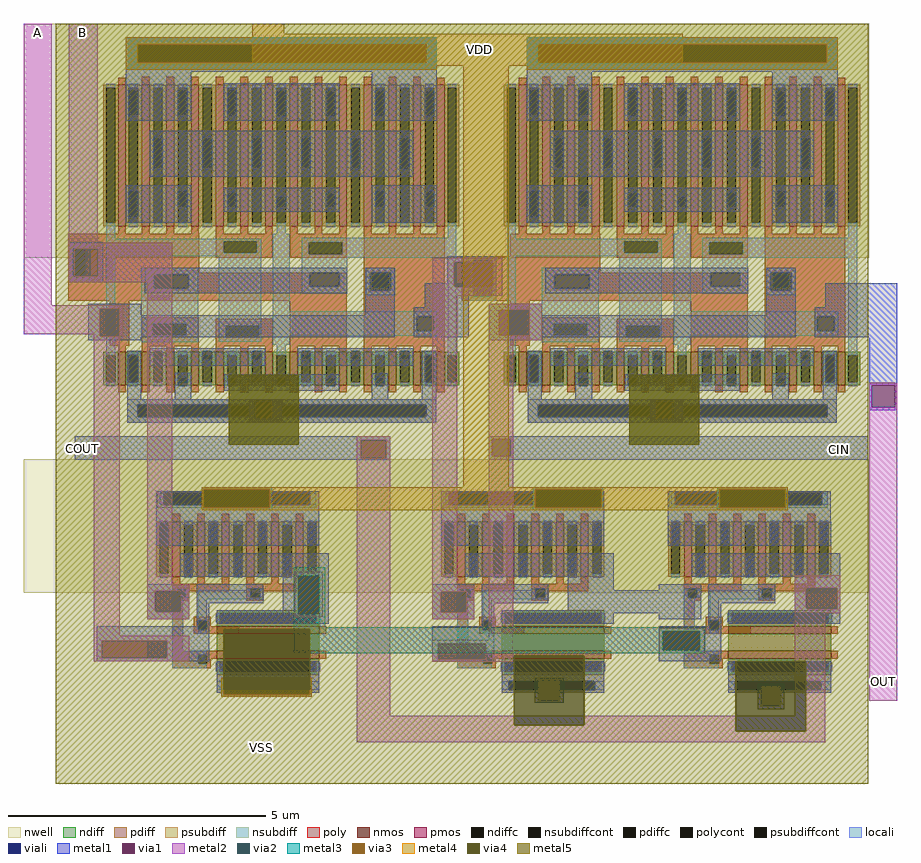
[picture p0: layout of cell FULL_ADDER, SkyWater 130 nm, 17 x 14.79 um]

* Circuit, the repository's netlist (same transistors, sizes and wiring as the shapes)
** sch_path: /home/erhangok/Documents/Dersler/VLSI/vlsi_sky130b/design/xschem/ADDER/full_adder.sch
.subckt full_adder OUT B A CIN COUT VSS VDD
*.PININFO A:I COUT:O B:I CIN:I OUT:O
x2 B A net1 VSS VDD XOR2
x1 net1 CIN OUT VSS VDD XOR2
x3 net1 CIN VSS VDD net2 nand2
x4 B A VSS VDD net3 nand2
x5 net2 net3 VSS VDD COUT nand2
.ends

* expanding   symbol:  XOR/XOR2.sym # of pins=3
** sym_path: /home/erhangok/Documents/Dersler/VLSI/vlsi_sky130b/design/xschem/XOR/XOR2.sym
** sch_path: /home/erhangok/Documents/Dersler/VLSI/vlsi_sky130b/design/xschem/XOR/XOR2.sch
.subckt XOR2 A B Y VSS VDD
*.PININFO A:I B:I Y:O
x1 A B !B !A Y A !A B !B VSS VDD cg4
x2 A VSS VDD !A inv_smol
x3 B VSS VDD !B inv_smol
.ends


* expanding   symbol:  NAND/nand2.sym # of pins=3
** sym_path: /home/erhangok/Documents/Dersler/VLSI/vlsi_sky130b/design/xschem/NAND/nand2.sym
** sch_path: /home/erhangok/Documents/Dersler/VLSI/vlsi_sky130b/design/xschem/NAND/nand2.sch
.subckt nand2 A B VSS VDD Y
*.PININFO A:I Y:O B:I
XM1 Y B VDD VDD sky130_fd_pr__pfet_01v8 L=0.15 W=3.21 nf=3 ad='int((nf+1)/2) * W/nf * 0.29' as='int((nf+2)/2) * W/nf * 0.29' pd='2*int((nf+1)/2) * (W/nf + 0.29)'
+ ps='2*int((nf+2)/2) * (W/nf + 0.29)' nrd='0.29 / W' nrs='0.29 / W' sa=0 sb=0 sd=0 mult=1 m=1
XM2 Y B net1 VSS sky130_fd_pr__nfet_01v8 L=0.15 W=2 nf=1 ad='int((nf+1)/2) * W/nf * 0.29' as='int((nf+2)/2) * W/nf * 0.29' pd='2*int((nf+1)/2) * (W/nf + 0.29)'
+ ps='2*int((nf+2)/2) * (W/nf + 0.29)' nrd='0.29 / W' nrs='0.29 / W' sa=0 sb=0 sd=0 mult=1 m=1
XM3 net1 A VSS VSS sky130_fd_pr__nfet_01v8 L=0.15 W=2 nf=1 ad='int((nf+1)/2) * W/nf * 0.29' as='int((nf+2)/2) * W/nf * 0.29' pd='2*int((nf+1)/2) * (W/nf + 0.29)'
+ ps='2*int((nf+2)/2) * (W/nf + 0.29)' nrd='0.29 / W' nrs='0.29 / W' sa=0 sb=0 sd=0 mult=1 m=1
XM4 Y A VDD VDD sky130_fd_pr__pfet_01v8 L=0.15 W=3.21 nf=3 ad='int((nf+1)/2) * W/nf * 0.29' as='int((nf+2)/2) * W/nf * 0.29' pd='2*int((nf+1)/2) * (W/nf + 0.29)'
+ ps='2*int((nf+2)/2) * (W/nf + 0.29)' nrd='0.29 / W' nrs='0.29 / W' sa=0 sb=0 sd=0 mult=1 m=1
.ends


* expanding   symbol:  ./CG4/cg4.sym # of pins=9
** sym_path: /home/erhangok/Documents/Dersler/VLSI/vlsi_sky130b/design/xschem/CG4/cg4.sym
** sch_path: /home/erhangok/Documents/Dersler/VLSI/vlsi_sky130b/design/xschem/CG4/cg4.sch
.subckt cg4 P3 P4 P2 P1 OUT N2 N1 N4 N3 VSS VDD
*.PININFO P3:I P1:I N1:I N3:I P4:I P2:I N2:I N4:I OUT:O
XM1 OUT N1 net1 VSS sky130_fd_pr__nfet_01v8 L=0.15 W=2 nf=1 ad='int((nf+1)/2) * W/nf * 0.29' as='int((nf+2)/2) * W/nf * 0.29' pd='2*int((nf+1)/2) * (W/nf + 0.29)'
+ ps='2*int((nf+2)/2) * (W/nf + 0.29)' nrd='0.29 / W' nrs='0.29 / W' sa=0 sb=0 sd=0 mult=1 m=1
XM2 OUT N2 net2 VSS sky130_fd_pr__nfet_01v8 L=0.15 W=2 nf=1 ad='int((nf+1)/2) * W/nf * 0.29' as='int((nf+2)/2) * W/nf * 0.29' pd='2*int((nf+1)/2) * (W/nf + 0.29)'
+ ps='2*int((nf+2)/2) * (W/nf + 0.29)' nrd='0.29 / W' nrs='0.29 / W' sa=0 sb=0 sd=0 mult=1 m=1
XM3 net1 N3 VSS VSS sky130_fd_pr__nfet_01v8 L=0.15 W=2 nf=1 ad='int((nf+1)/2) * W/nf * 0.29' as='int((nf+2)/2) * W/nf * 0.29' pd='2*int((nf+1)/2) * (W/nf + 0.29)'
+ ps='2*int((nf+2)/2) * (W/nf + 0.29)' nrd='0.29 / W' nrs='0.29 / W' sa=0 sb=0 sd=0 mult=1 m=1
XM4 net2 N4 VSS VSS sky130_fd_pr__nfet_01v8 L=0.15 W=2 nf=1 ad='int((nf+1)/2) * W/nf * 0.29' as='int((nf+2)/2) * W/nf * 0.29' pd='2*int((nf+1)/2) * (W/nf + 0.29)'
+ ps='2*int((nf+2)/2) * (W/nf + 0.29)' nrd='0.29 / W' nrs='0.29 / W' sa=0 sb=0 sd=0 mult=1 m=1
XM5 OUT P1 net3 VDD sky130_fd_pr__pfet_01v8 L=0.15 W=8.25 nf=1 ad='int((nf+1)/2) * W/nf * 0.29' as='int((nf+2)/2) * W/nf * 0.29' pd='2*int((nf+1)/2) * (W/nf + 0.29)'
+ ps='2*int((nf+2)/2) * (W/nf + 0.29)' nrd='0.29 / W' nrs='0.29 / W' sa=0 sb=0 sd=0 mult=1 m=1
XM6 OUT P2 net3 VDD sky130_fd_pr__pfet_01v8 L=0.15 W=8.25 nf=1 ad='int((nf+1)/2) * W/nf * 0.29' as='int((nf+2)/2) * W/nf * 0.29' pd='2*int((nf+1)/2) * (W/nf + 0.29)'
+ ps='2*int((nf+2)/2) * (W/nf + 0.29)' nrd='0.29 / W' nrs='0.29 / W' sa=0 sb=0 sd=0 mult=1 m=1
XM7 net3 P3 VDD VDD sky130_fd_pr__pfet_01v8 L=0.15 W=8.25 nf=1 ad='int((nf+1)/2) * W/nf * 0.29' as='int((nf+2)/2) * W/nf * 0.29' pd='2*int((nf+1)/2) * (W/nf + 0.29)'
+ ps='2*int((nf+2)/2) * (W/nf + 0.29)' nrd='0.29 / W' nrs='0.29 / W' sa=0 sb=0 sd=0 mult=1 m=1
XM8 net3 P4 VDD VDD sky130_fd_pr__pfet_01v8 L=0.15 W=8.25 nf=1 ad='int((nf+1)/2) * W/nf * 0.29' as='int((nf+2)/2) * W/nf * 0.29' pd='2*int((nf+1)/2) * (W/nf + 0.29)'
+ ps='2*int((nf+2)/2) * (W/nf + 0.29)' nrd='0.29 / W' nrs='0.29 / W' sa=0 sb=0 sd=0 mult=1 m=1
.ends


* expanding   symbol:  INV/inv_smol.sym # of pins=2
** sym_path: /home/erhangok/Documents/Dersler/VLSI/vlsi_sky130b/design/xschem/INV/inv_smol.sym
** sch_path: /home/erhangok/Documents/Dersler/VLSI/vlsi_sky130b/design/xschem/INV/inv_smol.sch
.subckt inv_smol A VSS VDD Y
*.PININFO A:I Y:O
XM2 Y A VSS VSS sky130_fd_pr__nfet_01v8 L=0.15 W=0.65 nf=1 ad='int((nf+1)/2) * W/nf * 0.29' as='int((nf+2)/2) * W/nf * 0.29' pd='2*int((nf+1)/2) * (W/nf + 0.29)'
+ ps='2*int((nf+2)/2) * (W/nf + 0.29)' nrd='0.29 / W' nrs='0.29 / W' sa=0 sb=0 sd=0 mult=1 m=1
XM1 Y A VDD VDD sky130_fd_pr__pfet_01v8 L=0.15 W=2.75 nf=1 ad='int((nf+1)/2) * W/nf * 0.29' as='int((nf+2)/2) * W/nf * 0.29' pd='2*int((nf+1)/2) * (W/nf + 0.29)'
+ ps='2*int((nf+2)/2) * (W/nf + 0.29)' nrd='0.29 / W' nrs='0.29 / W' sa=0 sb=0 sd=0 mult=1 m=1
.ends

.end

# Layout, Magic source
magic
tech sky130B
magscale 1 2
<< nwell >>
rect -292 625 2999 1536
rect -292 -679 2999 -159
<< poly >>
rect -118 660 74 717
rect -118 550 -99 660
rect -52 550 74 660
rect -118 458 74 550
rect 1413 615 1729 630
rect 1413 475 1458 615
rect 1531 475 1729 615
rect 1413 458 1729 475
<< polycont >>
rect -99 550 -52 660
rect 1458 475 1531 615
<< locali >>
rect -117 660 -32 683
rect -117 550 -99 660
rect -52 550 -32 660
rect -117 530 -32 550
rect 1358 608 1392 625
rect 1439 615 1548 630
rect 1358 511 1383 608
rect 1358 495 1392 511
rect 1439 475 1458 615
rect 1531 475 1548 615
rect 1439 458 1548 475
<< viali >>
rect -99 550 -52 660
rect 1458 512 1531 615
<< metal1 >>
rect -117 660 18 684
rect -117 550 -99 660
rect -3 552 18 660
rect 1357 625 1548 630
rect -52 550 18 552
rect -117 530 18 550
rect 1356 615 1548 625
rect 1356 608 1458 615
rect 1531 608 1548 615
rect 1356 511 1383 608
rect 1533 511 1548 608
rect 1356 495 1548 511
rect 1519 420 1724 446
rect 1519 323 1559 420
rect 1675 323 1724 420
rect 1519 303 1724 323
rect 2862 316 3108 525
rect 2999 129 3108 316
rect 2999 43 3008 129
rect 3099 43 3108 129
rect 2999 31 3108 43
rect -93 -86 1135 -70
rect -93 -155 1020 -86
rect 1119 -155 1135 -86
rect -93 -161 1135 -155
rect 1518 -82 2995 -70
rect 1518 -148 1532 -82
rect 1603 -148 2995 -82
rect 1518 -161 2995 -148
rect 401 -277 675 -268
rect 401 -349 410 -277
rect 666 -349 675 -277
rect 401 -358 675 -349
rect 1690 -277 1964 -268
rect 1690 -349 1699 -277
rect 1955 -349 1964 -277
rect 1690 -358 1964 -349
rect 2407 -277 2681 -268
rect 2407 -349 2416 -277
rect 2672 -349 2681 -277
rect 2407 -358 2681 -349
rect 189 -673 353 -646
rect 189 -753 221 -673
rect 319 -753 353 -673
rect 189 -781 353 -753
rect 1298 -674 1462 -651
rect 1298 -754 1332 -674
rect 1430 -754 1462 -674
rect 1298 -781 1462 -754
rect 1826 -759 2243 -669
rect -7 -866 384 -809
rect -7 -932 12 -866
rect 265 -932 384 -866
rect -7 -946 384 -932
rect 477 -1023 830 -1010
rect 1722 -1016 1784 -997
rect 477 -1075 486 -1023
rect 821 -1075 830 -1023
rect 477 -1084 830 -1075
rect 1711 -1028 1795 -1016
rect 1711 -1090 1722 -1028
rect 1784 -1090 1795 -1028
rect 1711 -1101 1795 -1090
rect 2576 -1055 2654 -1042
rect 2576 -1107 2589 -1055
rect 2641 -1107 2654 -1055
rect 2576 -1120 2654 -1107
<< via1 >>
rect -93 552 -52 660
rect -52 552 -3 660
rect 1383 512 1458 608
rect 1458 512 1531 608
rect 1531 512 1533 608
rect 1383 511 1533 512
rect 4 319 80 427
rect 1559 323 1675 420
rect 3008 43 3099 129
rect 1020 -155 1119 -86
rect 1532 -148 1603 -82
rect 410 -349 666 -277
rect 1699 -349 1955 -277
rect 2416 -349 2672 -277
rect 221 -753 319 -673
rect 776 -760 859 -612
rect 1332 -754 1430 -674
rect 2753 -742 2873 -662
rect 12 -932 265 -866
rect 1322 -937 1507 -877
rect 2194 -903 2339 -828
rect 486 -1075 821 -1023
rect 1722 -1090 1784 -1028
rect 2589 -1107 2641 -1055
<< metal2 >>
rect -292 440 -183 1536
rect -117 683 -3 1536
rect -117 660 286 683
rect -117 552 -93 660
rect -3 552 286 660
rect -117 530 286 552
rect -117 529 -3 530
rect -292 439 65 440
rect -292 427 94 439
rect -292 327 4 427
rect -18 319 4 327
rect 80 319 94 427
rect -18 -846 83 319
rect 190 -646 286 530
rect 1299 608 1571 624
rect 1299 511 1383 608
rect 1533 511 1571 608
rect 1299 476 1571 511
rect 1004 -86 1135 -70
rect 1004 -155 1020 -86
rect 1119 -155 1135 -86
rect 401 -277 675 -268
rect 401 -349 410 -277
rect 666 -349 675 -277
rect 401 -358 675 -349
rect 763 -612 872 -597
rect 189 -673 353 -646
rect 189 -753 221 -673
rect 319 -753 353 -673
rect 189 -781 353 -753
rect 763 -760 776 -612
rect 859 -760 872 -612
rect 763 -772 872 -760
rect -18 -866 353 -846
rect -18 -932 12 -866
rect 265 -932 353 -866
rect -18 -945 353 -932
rect 477 -1019 830 -1010
rect 477 -1075 486 -1019
rect 821 -1075 830 -1019
rect 477 -1084 830 -1075
rect 1004 -1158 1135 -155
rect 1299 -651 1395 476
rect 1518 420 1724 446
rect 1518 323 1559 420
rect 1675 323 1724 420
rect 1518 303 1724 323
rect 1518 -82 1613 303
rect 1518 -148 1532 -82
rect 1603 -148 1613 -82
rect 1298 -674 1462 -651
rect 1298 -754 1332 -674
rect 1430 -754 1462 -674
rect 1298 -781 1462 -754
rect 1518 -862 1613 -148
rect 2999 129 3108 138
rect 2999 43 3008 129
rect 3099 43 3108 129
rect 1690 -277 1964 -268
rect 1690 -349 1699 -277
rect 1955 -349 1964 -277
rect 1690 -358 1964 -349
rect 2407 -277 2681 -268
rect 2407 -349 2416 -277
rect 2672 -349 2681 -277
rect 2407 -358 2681 -349
rect 2708 -662 2886 -611
rect 2708 -742 2753 -662
rect 2873 -742 2886 -662
rect 2708 -759 2886 -742
rect 1298 -877 1613 -862
rect 1298 -937 1322 -877
rect 1507 -937 1613 -877
rect 2182 -828 2357 -817
rect 2182 -903 2194 -828
rect 2339 -903 2357 -828
rect 2182 -915 2357 -903
rect 1298 -947 1613 -937
rect 1711 -1028 1795 -1016
rect 1711 -1090 1722 -1028
rect 1784 -1090 1795 -1028
rect 1711 -1101 1795 -1090
rect 2576 -1053 2654 -1042
rect 2576 -1109 2587 -1053
rect 2643 -1109 2654 -1053
rect 2576 -1120 2654 -1109
rect 2708 -1158 2828 -759
rect 2999 -1099 3108 43
rect 1004 -1260 2828 -1158
<< via2 >>
rect 410 -349 666 -277
rect 776 -760 859 -612
rect 486 -1023 821 -1019
rect 486 -1075 821 -1023
rect 1699 -349 1955 -277
rect 2416 -349 2672 -277
rect 2194 -903 2339 -828
rect 1722 -1090 1784 -1028
rect 2587 -1055 2643 -1053
rect 2587 -1107 2589 -1055
rect 2589 -1107 2641 -1055
rect 2641 -1107 2643 -1055
rect 2587 -1109 2643 -1107
<< metal3 >>
rect 401 -277 675 -268
rect 401 -349 410 -277
rect 666 -349 675 -277
rect 401 -358 675 -349
rect 1690 -277 1964 -268
rect 1690 -349 1699 -277
rect 1955 -349 1964 -277
rect 1690 -358 1964 -349
rect 2407 -277 2681 -268
rect 2407 -349 2416 -277
rect 2672 -349 2681 -277
rect 2407 -358 2681 -349
rect 759 -612 881 -579
rect 759 -760 776 -612
rect 859 -760 881 -612
rect 759 -813 881 -760
rect 759 -828 2360 -813
rect 759 -903 2194 -828
rect 2339 -903 2360 -828
rect 759 -915 2360 -903
rect 477 -1011 830 -1010
rect 477 -1075 486 -1011
rect 821 -1075 830 -1011
rect 477 -1084 830 -1075
rect 1697 -1023 1809 -1009
rect 1697 -1095 1717 -1023
rect 1789 -1095 1809 -1023
rect 1697 -1106 1809 -1095
rect 2564 -1048 2667 -1034
rect 2564 -1114 2582 -1048
rect 2648 -1114 2667 -1048
rect 2564 -1132 2667 -1114
<< via3 >>
rect 410 -349 666 -277
rect 1699 -349 1955 -277
rect 2416 -349 2672 -277
rect 486 -1019 821 -1011
rect 486 -1075 821 -1019
rect 1717 -1028 1789 -1023
rect 1717 -1090 1722 -1028
rect 1722 -1090 1784 -1028
rect 1784 -1090 1789 -1028
rect 1717 -1095 1789 -1090
rect 2582 -1053 2648 -1048
rect 2582 -1109 2587 -1053
rect 2587 -1109 2643 -1053
rect 2643 -1109 2648 -1053
rect 2582 -1114 2648 -1109
<< metal4 >>
rect 597 1497 723 1536
rect 597 1371 2272 1497
rect 1418 -268 1596 1371
rect 401 -277 2681 -268
rect 401 -349 410 -277
rect 666 -349 1699 -277
rect 1955 -349 2416 -277
rect 2672 -349 2681 -277
rect 401 -358 2681 -349
rect 477 -1075 486 -1010
rect 821 -1075 830 -1010
rect 477 -1084 830 -1075
<< via4 >>
rect 486 -1011 821 -821
rect 486 -1057 821 -1011
rect 1617 -1023 1889 -923
rect 1617 -1095 1717 -1023
rect 1717 -1095 1789 -1023
rect 1789 -1095 1889 -1023
rect 1617 -1195 1889 -1095
rect 2479 -1048 2751 -945
rect 2479 -1114 2582 -1048
rect 2582 -1114 2648 -1048
rect 2648 -1114 2751 -1048
rect 2479 -1217 2751 -1114
<< metal5 >>
rect -166 -821 2994 1536
rect -166 -1057 486 -821
rect 821 -923 2994 -821
rect 821 -1057 1617 -923
rect -166 -1195 1617 -1057
rect 1889 -945 2994 -923
rect 1889 -1195 2479 -945
rect -166 -1217 2479 -1195
rect 2751 -1217 2994 -945
rect -166 -1421 2994 -1217
use NAND2  NAND2_0 ~/Documents/vlsi/vlsi_sky130b/design/mag/NAND/NAND2
transform 1 0 -167 0 1 -1051
box 356 -17 1062 804
use NAND2  NAND2_1
transform 1 0 942 0 1 -1051
box 356 -17 1062 804
use NAND2  NAND2_2
transform 1 0 1824 0 1 -1051
box 356 -17 1062 804
use XOR2  XOR2_0 ~/Documents/vlsi/vlsi_sky130b/design/mag/XOR
transform 1 0 69 0 1 -239
box -109 77 1371 1764
use XOR2  XOR2_1
transform 1 0 1628 0 1 -239
box -109 77 1371 1764
<< labels >>
rlabel metal1 -80 -152 -44 -82 5 COUT
port 4 s
rlabel metal2 3014 -1066 3094 -986 5 OUT
port 5 s
rlabel metal1 2808 -144 2958 -100 5 CIN
port 6 s
rlabel metal5 433 -1321 834 -1244 5 VSS
port 8 s
rlabel metal2 -279 1470 -199 1529 5 A
port 9 s
rlabel metal2 -102 1470 -22 1529 5 B
port 10 s
rlabel metal4 1355 1383 1610 1485 5 VDD
port 11 s
<< end >>

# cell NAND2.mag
magic
tech sky130B
magscale 1 2
<< nwell >>
rect 356 684 1062 804
<< ndiff >>
rect 994 146 996 148
rect 626 54 1026 60
<< psubdiff >>
rect 626 28 1026 54
rect 626 -6 653 28
rect 988 -6 1026 28
rect 626 -17 1026 -6
<< nsubdiff >>
rect 396 761 1013 768
rect 396 714 420 761
rect 989 714 1013 761
rect 396 702 1013 714
<< psubdiffcont >>
rect 653 -6 988 28
<< nsubdiffcont >>
rect 420 714 989 761
<< poly >>
rect 453 387 520 408
rect 453 352 470 387
rect 504 352 520 387
rect 453 341 520 352
rect 742 387 809 408
rect 742 352 759 387
rect 793 352 809 387
rect 742 341 809 352
rect 453 146 496 341
rect 538 263 604 279
rect 538 228 554 263
rect 588 242 604 263
rect 588 228 714 242
rect 538 212 714 228
rect 453 130 604 146
rect 453 95 554 130
rect 588 95 604 130
rect 453 79 604 95
<< polycont >>
rect 470 352 504 387
rect 759 352 793 387
rect 554 228 588 263
rect 554 95 588 130
<< locali >>
rect 404 714 420 761
rect 989 714 1013 761
rect 453 352 470 387
rect 504 352 520 387
rect 742 381 759 387
rect 554 352 759 381
rect 793 352 809 387
rect 453 146 496 352
rect 554 347 809 352
rect 554 263 588 347
rect 554 212 588 228
rect 453 130 588 146
rect 453 95 554 130
rect 453 79 588 95
rect 626 -6 653 28
rect 988 -6 1026 28
<< viali >>
rect 420 714 989 761
rect 470 352 504 387
rect 759 352 793 387
rect 554 228 588 263
rect 653 -6 988 28
<< metal1 >>
rect 391 761 1025 768
rect 391 714 420 761
rect 989 714 1025 761
rect 391 555 1025 714
rect 485 434 1062 526
rect 356 387 520 405
rect 356 352 470 387
rect 504 352 520 387
rect 356 270 520 352
rect 548 387 808 406
rect 548 352 759 387
rect 793 352 808 387
rect 548 332 808 352
rect 548 263 598 332
rect 884 304 1062 434
rect 548 241 554 263
rect 356 228 554 241
rect 588 228 598 263
rect 626 252 1062 304
rect 356 105 598 228
rect 626 28 1026 105
rect 626 -6 653 28
rect 988 -6 1026 28
rect 626 -17 1026 -6
use nmos_2shared_W200-L015-F1  nmos_2shared_W200-L015-F1_0
transform 0 1 826 -1 0 179
box -125 -226 125 226
use pmos_p2-w321-L015-f3  pmos_p2-w321-L015-f3_0
transform 1 0 709 0 -1 541
box -353 -143 353 169
<< labels >>
rlabel metal1 356 341 356 341 7 A
port 1 w
rlabel metal1 356 173 356 173 7 B
port 2 w
rlabel metal1 826 54 826 54 5 VSS
port 3 s
rlabel metal1 709 684 709 684 1 VDD
port 4 n
rlabel metal1 1062 451 1062 451 3 Y
port 5 e
<< end >>

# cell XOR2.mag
magic
tech sky130B
magscale 1 2
<< nwell >>
rect -87 864 1371 1764
<< nmos >>
rect 7 367 37 497
rect 99 367 129 497
rect 195 367 225 497
rect 291 367 321 497
rect 387 367 417 497
rect 483 367 513 497
rect 579 367 609 497
rect 675 367 705 497
rect 771 367 801 497
rect 867 367 897 497
rect 963 367 993 497
rect 1059 367 1089 497
rect 1155 367 1185 497
rect 1247 367 1277 497
<< pmos >>
rect 7 987 37 1537
rect 99 987 129 1537
rect 195 987 225 1537
rect 291 987 321 1537
rect 387 987 417 1537
rect 483 987 513 1537
rect 579 987 609 1537
rect 675 987 705 1537
rect 771 987 801 1537
rect 867 987 897 1537
rect 963 987 993 1537
rect 1059 987 1089 1537
rect 1155 987 1185 1537
rect 1247 987 1277 1537
<< ndiff >>
rect -51 485 7 497
rect -51 379 -39 485
rect -5 379 7 485
rect -51 367 7 379
rect 37 485 99 497
rect 37 379 49 485
rect 83 379 99 485
rect 37 367 99 379
rect 129 485 195 497
rect 129 379 145 485
rect 179 379 195 485
rect 129 367 195 379
rect 225 485 291 497
rect 225 379 241 485
rect 275 379 291 485
rect 225 367 291 379
rect 321 485 387 497
rect 321 379 337 485
rect 371 379 387 485
rect 321 367 387 379
rect 417 485 483 497
rect 417 379 433 485
rect 467 379 483 485
rect 417 367 483 379
rect 513 485 579 497
rect 513 379 529 485
rect 563 379 579 485
rect 513 367 579 379
rect 609 485 675 497
rect 609 379 625 485
rect 659 379 675 485
rect 609 367 675 379
rect 705 485 771 497
rect 705 379 721 485
rect 755 379 771 485
rect 705 367 771 379
rect 801 485 867 497
rect 801 379 817 485
rect 851 379 867 485
rect 801 367 867 379
rect 897 485 963 497
rect 897 379 913 485
rect 947 379 963 485
rect 897 367 963 379
rect 993 485 1059 497
rect 993 379 1009 485
rect 1043 379 1059 485
rect 993 367 1059 379
rect 1089 485 1155 497
rect 1089 379 1105 485
rect 1139 379 1155 485
rect 1089 367 1155 379
rect 1185 485 1247 497
rect 1185 379 1201 485
rect 1235 379 1247 485
rect 1185 367 1247 379
rect 1277 485 1335 497
rect 1277 379 1289 485
rect 1323 379 1335 485
rect 1277 367 1335 379
<< pdiff >>
rect -51 1525 7 1537
rect -51 999 -39 1525
rect -5 999 7 1525
rect -51 987 7 999
rect 37 1525 99 1537
rect 37 999 49 1525
rect 83 999 99 1525
rect 37 987 99 999
rect 129 1525 195 1537
rect 129 999 145 1525
rect 179 999 195 1525
rect 129 987 195 999
rect 225 1525 291 1537
rect 225 999 241 1525
rect 275 999 291 1525
rect 225 987 291 999
rect 321 1525 387 1537
rect 321 999 337 1525
rect 371 999 387 1525
rect 321 987 387 999
rect 417 1525 483 1537
rect 417 999 433 1525
rect 467 999 483 1525
rect 417 987 483 999
rect 513 1525 579 1537
rect 513 999 529 1525
rect 563 999 579 1525
rect 513 987 579 999
rect 609 1525 675 1537
rect 609 999 625 1525
rect 659 999 675 1525
rect 609 987 675 999
rect 705 1525 771 1537
rect 705 999 721 1525
rect 755 999 771 1525
rect 705 987 771 999
rect 801 1525 867 1537
rect 801 999 817 1525
rect 851 999 867 1525
rect 801 987 867 999
rect 897 1525 963 1537
rect 897 999 913 1525
rect 947 999 963 1525
rect 897 987 963 999
rect 993 1525 1059 1537
rect 993 999 1009 1525
rect 1043 999 1059 1525
rect 993 987 1059 999
rect 1089 1525 1155 1537
rect 1089 999 1105 1525
rect 1139 999 1155 1525
rect 1089 987 1155 999
rect 1185 1525 1247 1537
rect 1185 999 1201 1525
rect 1235 999 1247 1525
rect 1185 987 1247 999
rect 1277 1525 1335 1537
rect 1277 999 1289 1525
rect 1323 999 1335 1525
rect 1277 987 1335 999
<< ndiffc >>
rect -39 379 -5 485
rect 49 379 83 485
rect 145 379 179 485
rect 241 379 275 485
rect 337 379 371 485
rect 433 379 467 485
rect 529 379 563 485
rect 625 379 659 485
rect 721 379 755 485
rect 817 379 851 485
rect 913 379 947 485
rect 1009 379 1043 485
rect 1105 379 1139 485
rect 1201 379 1235 485
rect 1289 379 1323 485
<< pdiffc >>
rect -39 999 -5 1525
rect 49 999 83 1525
rect 145 999 179 1525
rect 241 999 275 1525
rect 337 999 371 1525
rect 433 999 467 1525
rect 529 999 563 1525
rect 625 999 659 1525
rect 721 999 755 1525
rect 817 999 851 1525
rect 913 999 947 1525
rect 1009 999 1043 1525
rect 1105 999 1139 1525
rect 1201 999 1235 1525
rect 1289 999 1323 1525
<< psubdiff >>
rect 42 291 1244 313
rect 42 245 83 291
rect 1206 245 1244 291
rect 42 222 1244 245
<< nsubdiff >>
rect 37 1694 1247 1722
rect 37 1622 83 1694
rect 1205 1622 1247 1694
rect 37 1596 1247 1622
<< psubdiffcont >>
rect 83 245 1206 291
<< nsubdiffcont >>
rect 83 1622 1205 1694
<< poly >>
rect 7 1537 37 1563
rect 99 1537 129 1568
rect 195 1537 225 1568
rect 291 1537 321 1568
rect 387 1537 417 1568
rect 483 1537 513 1568
rect 579 1537 609 1568
rect 675 1537 705 1568
rect 771 1537 801 1568
rect 867 1537 897 1568
rect 963 1537 993 1568
rect 1059 1537 1089 1568
rect 1155 1537 1185 1568
rect 1247 1537 1277 1563
rect 7 956 37 987
rect 99 956 129 987
rect 195 956 225 987
rect 291 956 321 987
rect 387 957 417 987
rect 483 957 513 987
rect 579 957 609 987
rect -26 806 323 956
rect 387 928 609 957
rect 387 883 417 928
rect 547 883 609 928
rect 387 864 609 883
rect 675 956 705 987
rect 771 956 801 987
rect 867 956 897 987
rect 675 923 897 956
rect 675 878 748 923
rect 878 878 897 923
rect 675 863 897 878
rect 963 956 993 987
rect 1059 956 1089 987
rect 1155 956 1185 987
rect 1247 956 1277 987
rect -87 697 897 806
rect -26 522 50 697
rect 99 607 321 632
rect 99 562 142 607
rect 272 562 321 607
rect 7 497 37 522
rect 99 519 321 562
rect 99 497 129 519
rect 195 497 225 519
rect 291 497 321 519
rect 387 599 609 627
rect 387 554 425 599
rect 555 554 609 599
rect 387 519 609 554
rect 387 497 417 519
rect 483 497 513 519
rect 579 497 609 519
rect 675 519 897 697
rect 675 497 705 519
rect 771 497 801 519
rect 867 497 897 519
rect 963 799 1277 956
rect 963 744 995 799
rect 1060 744 1277 799
rect 963 519 1277 744
rect 963 497 993 519
rect 1059 497 1089 519
rect 1155 497 1185 519
rect 1247 497 1277 519
rect 7 341 37 367
rect 99 341 129 367
rect 195 341 225 367
rect 291 341 321 367
rect 387 341 417 367
rect 483 341 513 367
rect 579 341 609 367
rect 675 341 705 367
rect 771 341 801 367
rect 867 341 897 367
rect 963 341 993 367
rect 1059 341 1089 367
rect 1155 341 1185 367
rect 1247 341 1277 367
<< polycont >>
rect 417 883 547 928
rect 748 878 878 923
rect 142 562 272 607
rect 425 554 555 599
rect 995 744 1060 799
<< locali >>
rect 37 1694 1247 1722
rect 37 1622 83 1694
rect 1205 1622 1247 1694
rect 37 1596 1247 1622
rect -39 1525 -5 1541
rect -39 938 -5 999
rect 49 1525 83 1541
rect 49 983 83 999
rect 145 1525 179 1541
rect 145 983 179 999
rect 241 1525 275 1541
rect 241 983 275 999
rect 337 1525 371 1541
rect 337 983 371 999
rect 433 1525 467 1541
rect 433 983 467 999
rect 529 1525 563 1541
rect 529 983 563 999
rect 625 1525 659 1541
rect 625 956 659 999
rect 721 1525 755 1541
rect 721 983 755 999
rect 817 1525 851 1541
rect 817 983 851 999
rect 913 1525 947 1541
rect 913 983 947 999
rect 1009 1525 1043 1541
rect 1009 983 1043 999
rect 1105 1525 1139 1541
rect 1105 983 1139 999
rect 1201 1525 1235 1541
rect 1201 983 1235 999
rect 1289 1525 1323 1541
rect -39 928 563 938
rect -39 883 417 928
rect 547 883 563 928
rect -39 869 563 883
rect -39 485 -5 869
rect 97 798 318 825
rect 97 745 147 798
rect 280 745 318 798
rect 97 607 318 745
rect 97 562 142 607
rect 272 562 318 607
rect 97 535 318 562
rect 398 599 563 869
rect 398 554 425 599
rect 555 554 563 599
rect 398 537 563 554
rect 609 656 675 956
rect 1289 941 1323 999
rect 721 923 1323 941
rect 721 878 748 923
rect 878 878 1323 923
rect 721 864 1323 878
rect 721 806 898 864
rect 721 753 753 806
rect 867 753 898 806
rect 721 724 898 753
rect 970 805 1085 823
rect 970 737 987 805
rect 1067 737 1085 805
rect 970 717 1085 737
rect 609 634 1249 656
rect 609 579 1169 634
rect 1234 579 1249 634
rect 609 560 1249 579
rect 609 526 675 560
rect -39 363 -5 379
rect 49 485 83 501
rect 49 363 83 379
rect 145 500 179 501
rect 145 363 179 379
rect 241 485 275 501
rect 241 363 275 365
rect 337 500 371 501
rect 337 363 371 379
rect 433 485 467 501
rect 433 363 467 365
rect 529 499 563 501
rect 529 363 563 379
rect 625 485 659 526
rect 625 363 659 365
rect 721 500 755 501
rect 721 363 755 379
rect 817 485 851 501
rect 817 363 851 365
rect 913 500 947 501
rect 913 363 947 379
rect 1009 485 1043 501
rect 1009 363 1043 365
rect 1105 500 1139 501
rect 1105 363 1139 379
rect 1201 485 1235 501
rect 1201 363 1235 379
rect 1289 485 1323 864
rect 1289 363 1323 379
rect 42 291 1244 313
rect 42 245 83 291
rect 1206 245 1244 291
rect 42 222 1244 245
<< viali >>
rect 83 1622 1205 1694
rect 49 1417 83 1519
rect 49 1022 83 1124
rect 145 1209 179 1333
rect 241 1417 275 1519
rect 241 1058 275 1124
rect 337 1209 371 1333
rect 433 1415 467 1517
rect 433 1058 467 1118
rect 529 1209 563 1333
rect 625 1414 659 1516
rect 625 1058 659 1101
rect 721 1209 755 1333
rect 817 1414 851 1516
rect 817 1058 851 1118
rect 913 1209 947 1333
rect 1009 1414 1043 1516
rect 1009 1058 1043 1125
rect 1105 1208 1139 1332
rect 1201 1414 1235 1516
rect 1201 1058 1235 1125
rect 147 745 280 798
rect 753 753 867 806
rect 987 799 1067 805
rect 987 744 995 799
rect 995 744 1060 799
rect 1060 744 1067 799
rect 987 737 1067 744
rect 1169 579 1234 634
rect 49 379 83 485
rect 145 485 179 500
rect 145 466 179 485
rect 241 379 275 399
rect 241 365 275 379
rect 337 485 371 500
rect 337 466 371 485
rect 433 379 467 399
rect 433 365 467 379
rect 529 485 563 499
rect 529 465 563 485
rect 625 379 659 399
rect 625 365 659 379
rect 721 485 755 500
rect 721 466 755 485
rect 817 379 851 399
rect 817 365 851 379
rect 913 485 947 500
rect 913 466 947 485
rect 1009 379 1043 399
rect 1009 365 1043 379
rect 1105 485 1139 500
rect 1105 466 1139 485
rect 1201 379 1235 485
rect 83 245 1206 291
<< metal1 >>
rect 37 1694 1247 1722
rect 37 1622 83 1694
rect 1205 1622 1247 1694
rect 37 1588 1247 1622
rect 37 1519 291 1588
rect 37 1417 49 1519
rect 83 1417 241 1519
rect 275 1417 291 1519
rect 37 1396 291 1417
rect 417 1517 867 1543
rect 417 1415 433 1517
rect 467 1516 867 1517
rect 467 1415 625 1516
rect 417 1414 625 1415
rect 659 1414 817 1516
rect 851 1414 867 1516
rect 417 1396 867 1414
rect 993 1516 1247 1588
rect 993 1414 1009 1516
rect 1043 1414 1201 1516
rect 1235 1414 1247 1516
rect 993 1396 1247 1414
rect 129 1333 1155 1358
rect 129 1209 145 1333
rect 179 1209 337 1333
rect 371 1209 529 1333
rect 563 1209 721 1333
rect 755 1209 913 1333
rect 947 1332 1155 1333
rect 947 1209 1105 1332
rect 129 1208 1105 1209
rect 1139 1208 1155 1332
rect 129 1179 1155 1208
rect 37 1124 291 1146
rect 37 1022 49 1124
rect 83 1058 241 1124
rect 275 1058 291 1124
rect 83 1022 291 1058
rect 417 1118 867 1135
rect 417 1058 433 1118
rect 467 1101 817 1118
rect 467 1058 625 1101
rect 659 1058 817 1101
rect 851 1058 867 1118
rect 417 1043 867 1058
rect 993 1125 1247 1146
rect 993 1058 1009 1125
rect 1043 1058 1201 1125
rect 1235 1058 1247 1125
rect 37 999 291 1022
rect 993 999 1247 1058
rect 110 806 899 824
rect 110 798 753 806
rect 110 745 147 798
rect 280 753 753 798
rect 867 753 899 806
rect 280 745 899 753
rect 110 725 899 745
rect 969 805 1084 824
rect 969 737 987 805
rect 1067 737 1084 805
rect -109 640 96 685
rect 969 640 1084 737
rect 1200 671 1371 764
rect -109 554 1084 640
rect 1158 634 1371 671
rect 1158 579 1169 634
rect 1234 579 1371 634
rect 1158 555 1371 579
rect -109 542 96 554
rect 42 485 97 501
rect 42 379 49 485
rect 83 379 97 485
rect 129 500 579 512
rect 129 466 145 500
rect 179 466 337 500
rect 371 499 579 500
rect 371 466 529 499
rect 129 465 529 466
rect 563 465 579 499
rect 129 444 579 465
rect 705 500 1155 512
rect 705 466 721 500
rect 755 466 913 500
rect 947 466 1105 500
rect 1139 466 1155 500
rect 705 444 1155 466
rect 1189 485 1244 501
rect 42 313 97 379
rect 227 399 292 416
rect 227 365 241 399
rect 275 365 292 399
rect 227 313 292 365
rect 420 399 867 411
rect 420 365 433 399
rect 467 365 625 399
rect 659 365 817 399
rect 851 365 867 399
rect 420 347 867 365
rect 993 399 1058 415
rect 993 365 1009 399
rect 1043 365 1058 399
rect 993 313 1058 365
rect 1189 379 1201 485
rect 1235 379 1244 485
rect 1189 313 1244 379
rect 42 302 1244 313
rect 42 291 543 302
rect 603 291 1244 302
rect 42 245 83 291
rect 1206 245 1244 291
rect 42 242 543 245
rect 603 242 1244 245
rect 42 222 1244 242
<< via1 >>
rect 83 1622 1205 1694
rect 543 291 603 302
rect 543 245 603 291
rect 543 242 603 245
<< metal2 >>
rect 37 1694 1247 1722
rect 37 1622 83 1694
rect 1205 1622 1247 1694
rect 37 1596 1247 1622
rect 532 302 614 313
rect 532 242 543 302
rect 603 242 614 302
rect 532 231 614 242
<< via2 >>
rect 83 1622 1205 1694
rect 543 242 603 302
<< metal3 >>
rect 37 1694 1247 1722
rect 37 1622 83 1694
rect 1205 1622 1247 1694
rect 37 1596 1247 1622
rect 518 307 644 313
rect 518 237 538 307
rect 608 237 644 307
rect 518 222 644 237
<< via3 >>
rect 83 1622 1205 1694
rect 538 302 608 307
rect 538 242 543 302
rect 543 242 603 302
rect 603 242 608 302
rect 538 237 608 242
<< metal4 >>
rect 37 1694 1247 1722
rect 37 1622 83 1694
rect 1205 1622 1247 1694
rect 37 1596 1247 1622
<< via4 >>
rect 437 307 709 408
rect 437 237 538 307
rect 538 237 608 307
rect 608 237 709 307
rect 437 136 709 237
<< metal5 >>
rect 354 408 824 471
rect 354 136 437 408
rect 709 136 824 408
rect 354 77 824 136
<< labels >>
rlabel poly -72 732 -48 772 7 A
port 1 w
rlabel metal1 -94 588 -70 628 7 B
port 2 w
rlabel via1 438 1644 532 1670 5 VDD
port 4 s
rlabel metal1 1296 616 1348 694 5 Y
port 5 s
rlabel metal1 368 256 462 282 5 VSS
port 3 s
<< end >>

# cell nmos_2shared_W200-L015-F1: kit device sky130_fd_pr__nfet_01v8, w 2 l 0.150 m 1 nf 2 diffcov 100 polycov 100 guard 0 glc 1 grc 1 gtc 1 gbc 1 tbcov 100 rlcov 100 topc 0 botc 0 poverlap 1 doverlap 1 lmin 0.15 wmin 0.42 compatible {sky130_fd_pr__nfet_01v8 sky130_fd_pr__nfet_01v8_lvt sky130_fd_bs_flash__special_sonosfet_star sky130_fd_pr__nfet_g5v0d10v5 sky130_fd_pr__nfet_05v0_nvt sky130_fd_pr__nfet_03v3_nvt} full_metal 1 viasrc 100 viadrn 100 viagate 100 viagb 0 viagr 0 viagl 0 viagt 0

# cell pmos_p2-w321-L015-f3: kit device sky130_fd_pr__pfet_01v8, w 1.07 l 0.15 m 1 nf 6 diffcov 100 polycov 100 guard 0 glc 1 grc 1 gtc 1 gbc 1 tbcov 100 rlcov 100 topc 0 botc 0 poverlap 0 doverlap 1 lmin 0.15 wmin 0.42 compatible {sky130_fd_pr__pfet_01v8 sky130_fd_pr__pfet_01v8_lvt sky130_fd_pr__pfet_01v8_hvt sky130_fd_pr__pfet_g5v0d10v5} full_metal 1 viasrc 100 viadrn 100 viagate 100 viagb 0 viagr 0 viagl 0 viagt 0
